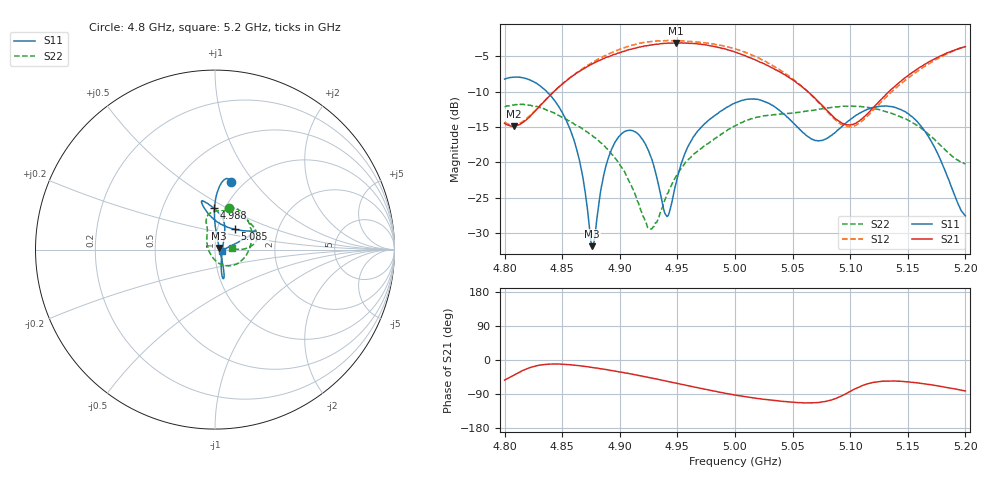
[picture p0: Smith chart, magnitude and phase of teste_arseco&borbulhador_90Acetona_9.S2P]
! Network Analyzer HP8722D
! Hewlett-Packard
! Data name: Linha & Wilkinson
! Saver's name: Rodrigo Anjos
! Comments: Teste da utilização de aquisição
! continua pelo VNA HP8722D
! Time and date: 17/4/2025 11:07
!  Frequency  S11  S21  S12  S22
# HZ  S  MA R 50
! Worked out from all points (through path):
!   401 points, 4.8 GHz to 5.2 GHz, reference 50 ohm
!   highest |S21| = -3.08 dB at 4.949 GHz (marker M1); lowest = -14.9 dB at 4.808 GHz (marker M2)
!   lowest |S11| = -31.9 dB at 4.876 GHz (marker M3), VSWR 1.05, Z = 52.4 + j0.956 ohm
!   |S11| at or under -10 dB: 4.837 GHz to end of sweep
!   |S22| runs from -29.5 to -11.7 dB; largest |S21 - S12| = 1.4
!   S11 on the Smith chart (normalised r, x): 4.8 GHz: 0.87, +0.78; 4.988 GHz: 0.89, +0.43; 5.085 GHz: 1.21, +0.28; 5.2 GHz: 1.08, -0.02
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4.8e9  0.389 76.9  0.189 -53.0  0.192 82.0  0.2465 71.2
4.808e9  0.4005 79.2  0.1801 -39.9  0.1832 94.0  0.2539 64.9
4.845e9  0.2623 89.9  0.3288 -10.5  0.3297 122.9  0.2188 21.1
4.858e9  0.1617 90.4  0.4034 -12.9  0.4046 122.6  0.1916 1.5
4.867e9  0.08571 84.7  0.4521 -16.1  0.4562 121.2  0.174 -12.4
4.876e9  0.02546 21.0  0.4977 -19.8  0.5093 119.0  0.1548 -26.9
4.888e9  0.09443 -62.7  0.5537 -25.5  0.5726 114.8  0.1266 -45.0
4.902e9  0.1607 -71.6  0.6072 -32.5  0.6423 109.1  0.09101 -66.5
4.925e9  0.1203 -72.9  0.6719 -46.0  0.7135 96.1  0.03443 -142.9
4.934e9  0.06738 -58.0  0.6888 -51.7  0.7271 90.4  0.04098 162.4
4.941e9  0.04131 -6.4  0.6982 -56.0  0.7276 85.9  0.05952 139.0
4.949e9  0.07188 47.7  0.7012 -61.1  0.7254 80.8  0.07996 124.7
4.964e9  0.1519 69.8  0.6941 -70.8  0.7145 71.4  0.1136 112.1
4.988e9  0.2309 91.7  0.6441 -85.6  0.6732 55.9  0.1586 108.5
5e9  0.263 100.0  0.6037 -92.4  0.6374 48.5  0.1812 105.3
5.028e9  0.2646 105.8  0.4857 -104.6  0.5087 34.0  0.2148 89.3
5.067e9  0.1456 77.3  0.2974 -113.1  0.2952 27.9  0.2329 54.8
5.085e9  0.1584 45.7  0.2117 -104.3  0.2073 38.7  0.2458 37.8
5.104e9  0.2121 29.3  0.1879 -76.4  0.1816 68.2  0.2494 22.9
5.134e9  0.249 24.0  0.3184 -55.4  0.3044 91.0  0.2249 9.3
5.165e9  0.1655 19.9  0.4965 -63.2  0.4798 85.0  0.1659 1.5
5.2e9  0.04169 -14.1  0.6583 -81.7  0.6612 67.7  0.09771 5.8
